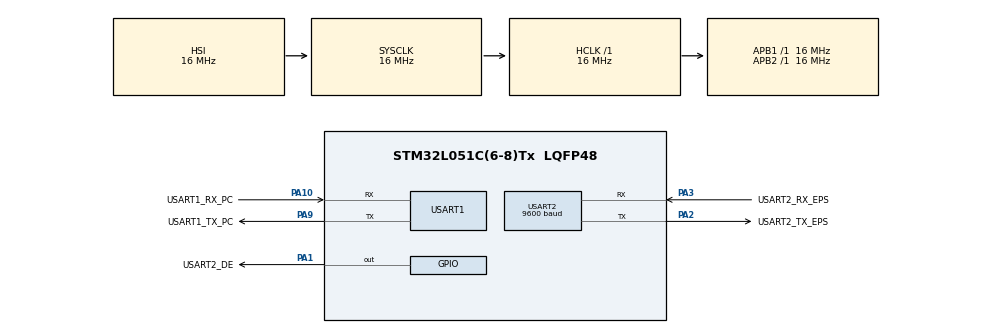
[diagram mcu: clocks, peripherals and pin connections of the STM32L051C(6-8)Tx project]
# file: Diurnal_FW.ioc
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Mcu.Family=STM32L0
Mcu.Name=STM32L051C(6-8)Tx
Mcu.Package=LQFP48
NVIC.USART1_IRQn=true\:0\:0\:false\:false\:true
NVIC.USART2_IRQn=true\:0\:0\:false\:false\:true
PA1.GPIO_Label=USART2_DE
PA1.Signal=GPIO_Output
PA10.GPIO_Label=USART1_RX_PC
PA10.Mode=Asynchronous
PA10.Signal=USART1_RX
PA2.GPIO_Label=USART2_TX_EPS
PA2.Mode=Asynchronous
PA2.Signal=USART2_TX
PA3.GPIO_Label=USART2_RX_EPS
PA3.Mode=Asynchronous
PA3.Signal=USART2_RX
PA9.GPIO_Label=USART1_TX_PC
PA9.Mode=Asynchronous
PA9.Signal=USART1_TX
ProjectManager.HeapSize=0x200
ProjectManager.StackSize=0x400
ProjectManager.TargetToolchain=MDK-ARM V5
RCC.AHBFreq_Value=16000000
RCC.APB1Freq_Value=16000000
RCC.APB1TimFreq_Value=16000000
RCC.APB2Freq_Value=16000000
RCC.APB2TimFreq_Value=16000000
RCC.HCLKFreq_Value=16000000
RCC.HSE_VALUE=8000000
RCC.HSI16_VALUE=16000000
RCC.HSI_VALUE=16000000
RCC.LSE_VALUE=32768
RCC.MSI_VALUE=2097000
RCC.SYSCLKFreq_VALUE=16000000
RCC.SYSCLKSource=RCC_SYSCLKSOURCE_HSI
RCC.VCOOutputFreq_Value=48000000
USART1.WordLength=UART_WORDLENGTH_8B
USART2.BaudRate=9600
USART2.WordLength=UART_WORDLENGTH_8B
board=Diurnal_FW

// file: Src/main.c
/**
  ******************************************************************************
  * File Name          : main.c
  * Description        : Main program body
  ******************************************************************************
  *
  * COPYRIGHT(c) 2016 STMicroelectronics
  *
  * Redistribution and use in source and binary forms, with or without modification,
  * are permitted provided that the following conditions are met:
  *   1. Redistributions of source code must retain the above copyright notice,
  *      this list of conditions and the following disclaimer.
  *   2. Redistributions in binary form must reproduce the above copyright notice,
  *      this list of conditions and the following disclaimer in the documentation
  *      and/or other materials provided with the distribution.
  *   3. Neither the name of STMicroelectronics nor the names of its contributors
  *      may be used to endorse or promote products derived from this software
  *      without specific prior written permission.
  *
  * THIS SOFTWARE IS PROVIDED BY THE COPYRIGHT HOLDERS AND CONTRIBUTORS "AS IS"
  * AND ANY EXPRESS OR IMPLIED WARRANTIES, INCLUDING, BUT NOT LIMITED TO, THE
  * IMPLIED WARRANTIES OF MERCHANTABILITY AND FITNESS FOR A PARTICULAR PURPOSE ARE
  * DISCLAIMED. IN NO EVENT SHALL THE COPYRIGHT HOLDER OR CONTRIBUTORS BE LIABLE
  * FOR ANY DIRECT, INDIRECT, INCIDENTAL, SPECIAL, EXEMPLARY, OR CONSEQUENTIAL
  * DAMAGES (INCLUDING, BUT NOT LIMITED TO, PROCUREMENT OF SUBSTITUTE GOODS OR
  * SERVICES; LOSS OF USE, DATA, OR PROFITS; OR BUSINESS INTERRUPTION) HOWEVER
  * CAUSED AND ON ANY THEORY OF LIABILITY, WHETHER IN CONTRACT, STRICT LIABILITY,
  * OR TORT (INCLUDING NEGLIGENCE OR OTHERWISE) ARISING IN ANY WAY OUT OF THE USE
  * OF THIS SOFTWARE, EVEN IF ADVISED OF THE POSSIBILITY OF SUCH DAMAGE.
  *
  ******************************************************************************
  */
#include "stm32l0xx_hal.h"

/* USER CODE BEGIN Includes */
#include "Buffer.h"
#include "define.h"

/* USER CODE END Includes */

UART_HandleTypeDef huart1;
UART_HandleTypeDef huart2;

/* USER CODE BEGIN PV */
/* Private variables ---------------------------------------------------------*/
char Rx_data1;
char Rx_Buffer1[BUFFER_SIZE];
struct ring_buffer rx_rb1;
int Rx_start_flag1;
int Rx_Cplt1;

char Tx_data1;
char Tx_Buffer1[BUFFER_SIZE];
int Tx_index1, Tx_Cplt1;

char Rx_data2;
char Rx_Buffer2[BUFFER_SIZE];
struct ring_buffer rx_rb2;
int Rx_start_flag2;

char Tx_data2;
char Tx_Buffer2[BUFFER_SIZE];
int Tx_index2, Tx_Cplt2;
/* USER CODE END PV */

void SystemClock_Config(void);
void Error_Handler(void);
static void MX_GPIO_Init(void);
static void MX_USART1_UART_Init(void);
static void MX_USART2_UART_Init(void);

/* USER CODE BEGIN PFP */
/* Private function prototypes -----------------------------------------------*/
void PC_data_check(void);
void EPS_data_check(void);

/* USER CODE END PFP */

int main(void)
{

  /* MCU Configuration----------------------------------------------------------*/

  /* Reset of all peripherals, Initializes the Flash interface and the Systick. */
  HAL_Init();

  /* Configure the system clock */
  SystemClock_Config();

  /* Initialize all configured peripherals */
  MX_GPIO_Init();
  MX_USART1_UART_Init();
  MX_USART2_UART_Init();

  /* USER CODE BEGIN 2 */
    HAL_UART_Receive_IT(&huart1, (uint8_t *) &Rx_data1, 1); // Rx1 interrupt enable
    HAL_UART_Receive_IT(&huart2, (uint8_t *) &Rx_data2, 1); // Rx2 interrupt enable
  /* USER CODE END 2 */

  /* Infinite loop */
  while (1)
  {

  }

}

/** System Clock Configuration
*/
void SystemClock_Config(void)
{

  RCC_OscInitTypeDef RCC_OscInitStruct;
  RCC_ClkInitTypeDef RCC_ClkInitStruct;
  RCC_PeriphCLKInitTypeDef PeriphClkInit;

  __HAL_RCC_PWR_CLK_ENABLE();

  __HAL_PWR_VOLTAGESCALING_CONFIG(PWR_REGULATOR_VOLTAGE_SCALE1);

  RCC_OscInitStruct.OscillatorType = RCC_OSCILLATORTYPE_HSI;
  RCC_OscInitStruct.HSIState = RCC_HSI_ON;
  RCC_OscInitStruct.HSICalibrationValue = 16;
  RCC_OscInitStruct.PLL.PLLState = RCC_PLL_NONE;
  if (HAL_RCC_OscConfig(&RCC_OscInitStruct) != HAL_OK)
  {
    Error_Handler();
  }

  RCC_ClkInitStruct.ClockType = RCC_CLOCKTYPE_HCLK|RCC_CLOCKTYPE_SYSCLK
                              |RCC_CLOCKTYPE_PCLK1|RCC_CLOCKTYPE_PCLK2;
  RCC_ClkInitStruct.SYSCLKSource = RCC_SYSCLKSOURCE_HSI;
  RCC_ClkInitStruct.AHBCLKDivider = RCC_SYSCLK_DIV1;
  RCC_ClkInitStruct.APB1CLKDivider = RCC_HCLK_DIV1;
  RCC_ClkInitStruct.APB2CLKDivider = RCC_HCLK_DIV1;
  if (HAL_RCC_ClockConfig(&RCC_ClkInitStruct, FLASH_LATENCY_0) != HAL_OK)
  {
    Error_Handler();
  }

  PeriphClkInit.PeriphClockSelection = RCC_PERIPHCLK_USART1|RCC_PERIPHCLK_USART2;
  PeriphClkInit.Usart1ClockSelection = RCC_USART1CLKSOURCE_PCLK2;
  PeriphClkInit.Usart2ClockSelection = RCC_USART2CLKSOURCE_PCLK1;
  if (HAL_RCCEx_PeriphCLKConfig(&PeriphClkInit) != HAL_OK)
  {
    Error_Handler();
  }

  HAL_SYSTICK_Config(HAL_RCC_GetHCLKFreq()/1000);

  HAL_SYSTICK_CLKSourceConfig(SYSTICK_CLKSOURCE_HCLK);

  /* SysTick_IRQn interrupt configuration */
  HAL_NVIC_SetPriority(SysTick_IRQn, 0, 0);
}

/* USART1 init function */
static void MX_USART1_UART_Init(void)
{

  huart1.Instance = USART1;
  huart1.Init.BaudRate = 115200;
  huart1.Init.WordLength = UART_WORDLENGTH_8B;
  huart1.Init.StopBits = UART_STOPBITS_1;
  huart1.Init.Parity = UART_PARITY_NONE;
  huart1.Init.Mode = UART_MODE_TX_RX;
  huart1.Init.HwFlowCtl = UART_HWCONTROL_NONE;
  huart1.Init.OverSampling = UART_OVERSAMPLING_16;
  huart1.Init.OneBitSampling = UART_ONE_BIT_SAMPLE_DISABLE;
  huart1.AdvancedInit.AdvFeatureInit = UART_ADVFEATURE_NO_INIT;
  if (HAL_UART_Init(&huart1) != HAL_OK)
  {
    Error_Handler();
  }

}

/* USART2 init function */
static void MX_USART2_UART_Init(void)
{

  huart2.Instance = USART2;
  huart2.Init.BaudRate = 9600;
  huart2.Init.WordLength = UART_WORDLENGTH_8B;
  huart2.Init.StopBits = UART_STOPBITS_1;
  huart2.Init.Parity = UART_PARITY_NONE;
  huart2.Init.Mode = UART_MODE_TX_RX;
  huart2.Init.HwFlowCtl = UART_HWCONTROL_NONE;
  huart2.Init.OverSampling = UART_OVERSAMPLING_16;
  huart2.Init.OneBitSampling = UART_ONE_BIT_SAMPLE_DISABLE;
  huart2.AdvancedInit.AdvFeatureInit = UART_ADVFEATURE_NO_INIT;
  if (HAL_UART_Init(&huart2) != HAL_OK)
  {
    Error_Handler();
  }

}

/** Configure pins as
        * Analog
        * Input
        * Output
        * EVENT_OUT
        * EXTI
*/
static void MX_GPIO_Init(void)
{

  GPIO_InitTypeDef GPIO_InitStruct;

  /* GPIO Ports Clock Enable */
  __HAL_RCC_GPIOA_CLK_ENABLE();

  /*Configure GPIO pin Output Level */
  HAL_GPIO_WritePin(USART2_DE_GPIO_Port, USART2_DE_Pin, GPIO_PIN_RESET);

  /*Configure GPIO pin : USART2_DE_Pin */
  GPIO_InitStruct.Pin = USART2_DE_Pin;
  GPIO_InitStruct.Mode = GPIO_MODE_OUTPUT_PP;
  GPIO_InitStruct.Pull = GPIO_NOPULL;
  GPIO_InitStruct.Speed = GPIO_SPEED_FREQ_LOW;
  HAL_GPIO_Init(USART2_DE_GPIO_Port, &GPIO_InitStruct);

}

/* USER CODE BEGIN 4 */
void HAL_UART_RxCpltCallback(UART_HandleTypeDef *huart) // ETX를 만나면 이후 Receive 중단.(ETX 까지는 저장함.)
{
    if(huart->Instance == USART1)
    {
        Ring_buffer_put(&rx_rb1, Rx_data1);

        if(Rx_data1 == STX && Rx_start_flag1 == 0)
        {
            Ring_buffer_flush(&rx_rb1);
            Ring_buffer_put(&rx_rb1, STX);
            Rx_start_flag1 = 1;
        }
        else if(Rx_Cplt1 == 1)
        {
            PC_data_check();
            Rx_Cplt1 = 0;
            Rx_start_flag1 = 0;
        }
        else if(Rx_data1 == ETX)
        {
            Rx_Cplt1 = 1;
        }
        /*
        else if(Rx_data1 == ETX && Rx_start_flag1 == 1)
        {
            PC_data_check();
            Rx_start_flag1 = 0;
        }  */

        HAL_UART_Receive_IT(&huart1, (uint8_t *) &Rx_data1, 1);
    }
    else if(huart->Instance == USART2)
    {
        Ring_buffer_put(&rx_rb2, Rx_data2);
     //   Tx_Buffer1[Tx_index1++] = Rx_data2;

        if(Rx_data2 == STX && Rx_start_flag2 == 0)
        {
            Ring_buffer_flush(&rx_rb2);
            Ring_buffer_put(&rx_rb2, STX);
            Rx_start_flag2 = 1;
        }
        else if(Rx_data2 == ETX && Rx_start_flag2 == 1)
        {
			EPS_data_check();
            Rx_start_flag2 = 0;
//            Tx_index1 = 0;
//            HAL_UART_Transmit_IT(&huart1, (uint8_t *)Tx_Buffer1, 1); // Echo // EPS에서 온 data를 PC로 전송.
        }

        HAL_UART_Receive_IT(&huart2, (uint8_t *) &Rx_data2, 1);
    }
}

void HAL_UART_TxCpltCallback(UART_HandleTypeDef *huart)
{
    int i = 0;

    if(huart->Instance == USART1)
    {
//		if(!Tx_Cplt1)
//		{
			if(Tx_Buffer1[Tx_index1] != ETX)
			{
				HAL_UART_Transmit_IT(&huart1, (uint8_t *) &(Tx_Buffer1[++Tx_index1]), 1);
			}
			else
			{
			//	HAL_UART_Transmit_IT(&huart1, (uint8_t *) &(Tx_Buffer1[++Tx_index1]), 1); // If last packet is checksum,
				for(i = 0; i < BUFFER_SIZE; i++)
				{
					Tx_Buffer1[i] = 0;
				}
				Tx_index1 = 0;
				Tx_Cplt1 = 1;
			}
	/*	}
		else
		{
			for(i = 0; i < BUFFER_SIZE; i++)
			{
				Tx_Buffer1[i] = 0;
			}
			Tx_index1 = 0;
			Tx_Cplt1 = 0;
		}*/
	}
    else if(huart->Instance == USART2)
    {
        if(!Tx_Cplt2)
        {
            if(Tx_Buffer2[Tx_index2] != ETX)
            {
                HAL_UART_Transmit_IT(&huart2, (uint8_t *) &(Tx_Buffer2[++Tx_index2]), 1);
            }
            else
            {
                HAL_UART_Transmit_IT(&huart2, (uint8_t *) &(Tx_Buffer2[++Tx_index2]), 1); // If last packet is checksum,
                Tx_Cplt2 = 1;
            }
        }
        else
		{
			for(i = 0; i < BUFFER_SIZE; i++)
			{
				Tx_Buffer2[i] = 0;
			}
			Tx_index2 = 0;
            Tx_Cplt2 = 0;
		}
    }
}

void HAL_UART_ErrorCallback(UART_HandleTypeDef *huart)
{
	if(huart->Instance == USART1)
		HAL_UART_Receive_IT(&huart1, (uint8_t *) &Rx_data1, 1);
 	if(huart->Instance == USART2)
		HAL_UART_Receive_IT(&huart2, (uint8_t *) &Rx_data2, 1);
}

void PC_data_check(void)
{
    // 예시 // PC에서 넘어온 명령을 그대로 넘김.
    uint8_t stx, id, command, data, etx, r_checksum;
    uint8_t checksum;
    uint8_t t_checksum;

    Ring_buffer_get(&rx_rb1, &stx);
    Ring_buffer_get(&rx_rb1, &id);
    Ring_buffer_get(&rx_rb1, &command);

	if(command == CMD_CTRL)
	{
		Ring_buffer_get(&rx_rb1, &data);
		Ring_buffer_get(&rx_rb1, &etx);
		Ring_buffer_get(&rx_rb1, &r_checksum);

		checksum = (stx + id + command + data + etx) % 256;

	    if(r_checksum == checksum) // if data is valid,
		{
			Tx_Buffer2[0] = STX;
			Tx_Buffer2[1] = id;

			Tx_Buffer2[2] = CMD_CTRL;
			Tx_Buffer2[3] = data;
			Tx_Buffer2[4] = ETX;
			t_checksum = (Tx_Buffer2[0] + Tx_Buffer2[1] + Tx_Buffer2[2] + Tx_Buffer2[3] + Tx_Buffer2[4]) % 256;
			Tx_Buffer2[5] = t_checksum;
		}
	}
	else if(command == CMD_STATE_REQ)
	{
		Ring_buffer_get(&rx_rb1, &etx);
		Ring_buffer_get(&rx_rb1, &r_checksum);

		checksum = (stx + id + command + etx) % 256;

		if(r_checksum == checksum) // if data is valid,
		{
			Tx_Buffer2[0] = STX;
			Tx_Buffer2[1] = id;
            Tx_Buffer2[2] = CMD_STATE_REQ;
            Tx_Buffer2[3] = ETX;
            t_checksum = (Tx_Buffer2[0] + Tx_Buffer2[1] + Tx_Buffer2[2] + Tx_Buffer2[3]) % 256;
            Tx_Buffer2[4] = t_checksum;
		}
	}

    HAL_UART_Transmit_IT(&huart2, (uint8_t *) Tx_Buffer2, 1);
	/*
	if(command == CMD_CTRL)
	{
		Ring_buffer_get(&rx_rb1, &data);
		Ring_buffer_get(&rx_rb1, &etx);
		Ring_buffer_get(&rx_rb1, &r_checksum);

		checksum = (stx + id + command + data + etx) % 256;

	    if(r_checksum == checksum) // if data is valid,
		{
			Tx_Buffer1[0] = STX;
			Tx_Buffer1[1] = id;

			Tx_Buffer1[2] = CMD_CTRL;
			Tx_Buffer1[3] = data;
			Tx_Buffer1[4] = ETX;
			t_checksum = (Tx_Buffer1[0] + Tx_Buffer1[1] + Tx_Buffer1[2] + Tx_Buffer1[3] + Tx_Buffer1[4]) % 256;
			Tx_Buffer1[5] = t_checksum;
		}
	}
	else if(command == CMD_STATE_REQ)
	{
		Ring_buffer_get(&rx_rb1, &etx);
		Ring_buffer_get(&rx_rb1, &r_checksum);

		checksum = (stx + id + command + etx) % 256;

		if(r_checksum == checksum) // if data is valid,
		{
			Tx_Buffer1[0] = STX;
			Tx_Buffer1[1] = id;
            Tx_Buffer1[2] = CMD_STATE_REQ;
            Tx_Buffer1[3] = ETX;
            t_checksum = (Tx_Buffer1[0] + Tx_Buffer1[1] + Tx_Buffer1[2] + Tx_Buffer1[3]) % 256;
            Tx_Buffer1[4] = t_checksum;
		}
	}

    HAL_UART_Transmit_IT(&huart1, (uint8_t *) Tx_Buffer1, 1);*/
}

void EPS_data_check(void)
{
    uint8_t stx, id, command, state, etx, r_checksum;
    uint8_t checksum;
    uint8_t t_checksum;

    Ring_buffer_get(&rx_rb2, &stx);
    Ring_buffer_get(&rx_rb2, &id);
    Ring_buffer_get(&rx_rb2, &command);
    Ring_buffer_get(&rx_rb2, &state);
    Ring_buffer_get(&rx_rb2, &r_checksum);
    Ring_buffer_get(&rx_rb2, &etx);

    checksum = (id + command + state) % 256;	// 프로토콜이 중구남방임. 일부러 이렇게 하는건지는 잘 모르겠음.
	t_checksum = checksum; // 테스트 할 때는 똑같은 데이터......지만 PC <-> 컨트롤러 프로토콜에 따라 달라질 수 있으니 주의

    if(r_checksum == checksum) // if data is valid,
    {
		Tx_Buffer1[0] = STX;
		Tx_Buffer1[1] = id;
		Tx_Buffer1[2] = CMD_STATE_REQ;
		Tx_Buffer1[3] = state;
		Tx_Buffer1[4] = checksum;
		Tx_Buffer1[5] = ETX;

		HAL_UART_Transmit_IT(&huart1, (uint8_t *) Tx_Buffer1, 1);

		/*
		Tx_Buffer2[0] = STX;
		Tx_Buffer2[1] = id;
		Tx_Buffer2[2] = CMD_STATE_REQ;
		Tx_Buffer2[3] = state;
		Tx_Buffer2[4] = checksum;
		Tx_Buffer2[5] = ETX;

		HAL_UART_Transmit_IT(&huart2, (uint8_t *) Tx_Buffer2, 1);*/
	}
}

/* USER CODE END 4 */

void Error_Handler(void)
{
  while(1)
  {
  }
}

/************************ (C) COPYRIGHT STMicroelectronics *****END OF FILE****/
